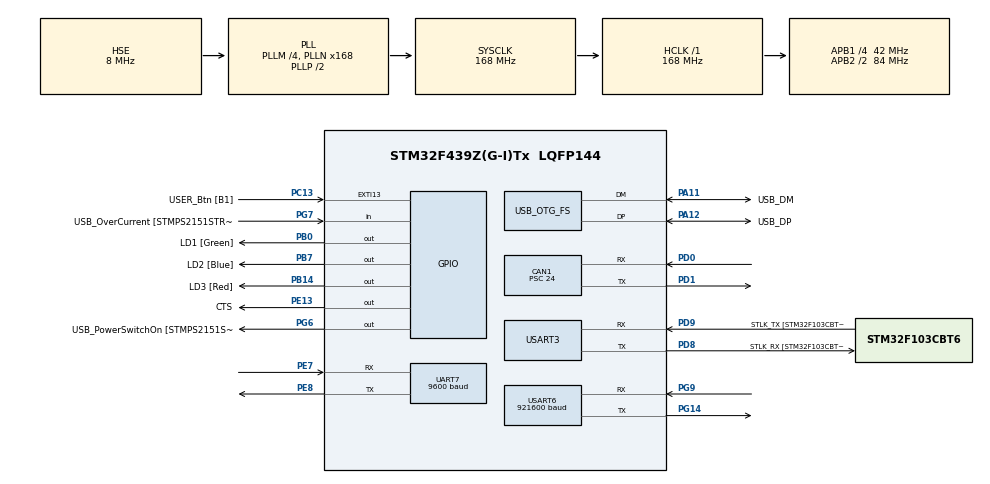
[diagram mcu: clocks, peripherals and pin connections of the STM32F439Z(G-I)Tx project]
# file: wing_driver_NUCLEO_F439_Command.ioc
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CAN1.BS1=CAN_BS1_5TQ
CAN1.CalculateBaudRate=250000
CAN1.CalculateTimeBit=4000
CAN1.CalculateTimeQuantum=571.4285714285714
CAN1.Mode=CAN_MODE_LOOPBACK
CAN1.Prescaler=24
Dma.Request0=USART6_RX
Dma.Request1=UART7_RX
Dma.UART7_RX.1.Direction=DMA_PERIPH_TO_MEMORY
Dma.UART7_RX.1.FIFOMode=DMA_FIFOMODE_DISABLE
Dma.UART7_RX.1.Instance=DMA1_Stream3
Dma.UART7_RX.1.MemDataAlignment=DMA_MDATAALIGN_BYTE
Dma.UART7_RX.1.MemInc=DMA_MINC_ENABLE
Dma.UART7_RX.1.Mode=DMA_CIRCULAR
Dma.UART7_RX.1.PeriphDataAlignment=DMA_PDATAALIGN_BYTE
Dma.UART7_RX.1.PeriphInc=DMA_PINC_DISABLE
Dma.UART7_RX.1.Priority=DMA_PRIORITY_LOW
Dma.USART6_RX.0.Direction=DMA_PERIPH_TO_MEMORY
Dma.USART6_RX.0.FIFOMode=DMA_FIFOMODE_DISABLE
Dma.USART6_RX.0.Instance=DMA2_Stream1
Dma.USART6_RX.0.MemDataAlignment=DMA_MDATAALIGN_BYTE
Dma.USART6_RX.0.MemInc=DMA_MINC_ENABLE
Dma.USART6_RX.0.Mode=DMA_NORMAL
Dma.USART6_RX.0.PeriphDataAlignment=DMA_PDATAALIGN_BYTE
Dma.USART6_RX.0.PeriphInc=DMA_PINC_DISABLE
Dma.USART6_RX.0.Priority=DMA_PRIORITY_LOW
Mcu.Family=STM32F4
Mcu.Name=STM32F439Z(G-I)Tx
Mcu.Package=LQFP144
NVIC.CAN1_TX_IRQn=true\:0\:0\:false\:false\:true\:true\:true\:true
NVIC.DMA1_Stream3_IRQn=true\:0\:0\:false\:false\:true\:false\:true\:true
NVIC.DMA2_Stream1_IRQn=true\:0\:0\:false\:false\:true\:false\:true\:true
NVIC.OTG_FS_IRQn=true\:0\:0\:false\:false\:true\:false\:true\:true
NVIC.PriorityGroup=NVIC_PRIORITYGROUP_4
PA1.GPIO_Label=RMII_REF_CLK [LAN8742A-CZ-TR_REFCLK0]
PA1.Signal=ETH_REF_CLK
PA10.GPIO_Label=USB_ID
PA10.Signal=USB_OTG_FS_ID
PA11.GPIO_Label=USB_DM
PA11.Mode=Host_Only
PA11.Signal=USB_OTG_FS_DM
PA12.GPIO_Label=USB_DP
PA12.Mode=Host_Only
PA12.Signal=USB_OTG_FS_DP
PA13.GPIO_Label=TMS
PA13.Mode=Serial_Wire
PA13.Signal=SYS_JTMS-SWDIO
PA14.GPIO_Label=TCK
PA14.Mode=Serial_Wire
PA14.Signal=SYS_JTCK-SWCLK
PA2.GPIO_Label=RMII_MDIO [LAN8742A-CZ-TR_MDIO]
PA2.Signal=ETH_MDIO
PA7.GPIO_Label=RMII_CRS_DV [LAN8742A-CZ-TR_CRS_DV]
PA7.Signal=ETH_CRS_DV
PA8.GPIO_Label=USB_SOF [TP1]
PA8.Signal=USB_OTG_FS_SOF
PA9.GPIO_Label=USB_VBUS
PA9.Signal=USB_OTG_FS_VBUS
PB0.GPIO_Label=LD1 [Green]
PB0.Signal=GPIO_Output
PB13.GPIO_Label=RMII_TXD1 [LAN8742A-CZ-TR_TXD1]
PB13.Signal=ETH_TXD1
PB14.GPIO_Label=LD3 [Red]
PB14.Signal=GPIO_Output
PB7.GPIO_Label=LD2 [Blue]
PB7.Signal=GPIO_Output
PC1.GPIO_Label=RMII_MDC [LAN8742A-CZ-TR_MDC]
PC1.Signal=ETH_MDC
PC13.GPIO_Label=USER_Btn [B1]
PC13.Signal=GPXTI13
PC14/OSC32_IN.Mode=LSE-External-Oscillator
PC14/OSC32_IN.Signal=RCC_OSC32_IN
PC15/OSC32_OUT.Mode=LSE-External-Oscillator
PC15/OSC32_OUT.Signal=RCC_OSC32_OUT
PC4.GPIO_Label=RMII_RXD0 [LAN8742A-CZ-TR_RXD0]
PC4.Signal=ETH_RXD0
PC5.GPIO_Label=RMII_RXD1 [LAN8742A-CZ-TR_RXD1]
PC5.Signal=ETH_RXD1
PD0.Mode=CAN_Activate
PD0.Signal=CAN1_RX
PD1.Mode=CAN_Activate
PD1.Signal=CAN1_TX
PD8.GPIO_Label=STLK_RX [STM32F103CBT6_PA3]
PD8.Mode=Asynchronous
PD8.Signal=USART3_TX
PD9.GPIO_Label=STLK_TX [STM32F103CBT6_PA2]
PD9.Mode=Asynchronous
PD9.Signal=USART3_RX
PE13.GPIO_Label=CTS
PE13.Signal=GPIO_Output
PE7.Mode=Asynchronous
PE7.Signal=UART7_RX
PE8.Mode=Asynchronous
PE8.Signal=UART7_TX
PG11.GPIO_Label=RMII_TX_EN [LAN8742A-CZ-TR_TXEN]
PG11.Signal=ETH_TX_EN
PG13.GPIO_Label=RMII_TXD0 [LAN8742A-CZ-TR_TXD0]
PG13.Signal=ETH_TXD0
PG14.Mode=Asynchronous
PG14.Signal=USART6_TX
PG6.GPIO_Label=USB_PowerSwitchOn [STMPS2151STR_EN]
PG6.Signal=GPIO_Output
PG7.GPIO_Label=USB_OverCurrent [STMPS2151STR_FAULT]
PG7.Signal=GPIO_Input
PG9.Mode=Asynchronous
PG9.Signal=USART6_RX
PH0/OSC_IN.GPIO_Label=MCO [STM32F103CBT6_PA8]
PH0/OSC_IN.Mode=HSE-External-Clock-Source
PH0/OSC_IN.Signal=RCC_OSC_IN
PH1/OSC_OUT.Mode=HSE-External-Clock-Source
PH1/OSC_OUT.Signal=RCC_OSC_OUT
ProjectManager.HeapSize=0x200
ProjectManager.StackSize=0x400
ProjectManager.TargetToolchain=STM32CubeIDE
RCC.48MHZClocksFreq_Value=48000000
RCC.AHBFreq_Value=168000000
RCC.APB1CLKDivider=RCC_HCLK_DIV4
RCC.APB1Freq_Value=42000000
RCC.APB1TimFreq_Value=84000000
RCC.APB2CLKDivider=RCC_HCLK_DIV2
RCC.APB2Freq_Value=84000000
RCC.APB2TimCLKDivider=2
RCC.APB2TimFreq_Value=168000000
RCC.CortexFreq_Value=168000000
RCC.HCLKFreq_Value=168000000
RCC.HSE_VALUE=8000000
RCC.HSI_VALUE=16000000
RCC.PLLM=4
RCC.PLLMUL=RCC_PLL_MUL9
RCC.PLLN=168
RCC.PLLQ=7
RCC.PRESCALERUSB=RCC_USBCLKSOURCE_PLL_DIV1_5
RCC.SYSCLKFreq_VALUE=168000000
RCC.SYSCLKSource=RCC_SYSCLKSOURCE_PLLCLK
RCC.SYSCLKSourceVirtual=RCC_SYSCLKSOURCE_PLLCLK
RCC.USBFreq_Value=48000000
RCC.VCOOutputFreq_Value=336000000
UART7.BaudRate=9600
UART7.VirtualMode=Asynchronous
USART3.VirtualMode=VM_ASYNC
USART6.BaudRate=921600
USART6.VirtualMode=VM_ASYNC
USB_HOST.BSP.number=1
USB_HOST.USBH_HandleTypeDef-CDC_FS=hUsbHostFS
USB_HOST.VirtualModeFS=Cdc
USB_HOST0.BSP.STBoard=false
USB_HOST0.BSP.api=Unknown
USB_HOST0.BSP.condition=SW_VBUS_DRIVE_CDC_FS \= false
USB_HOST0.BSP.instance=PG6
USB_HOST0.BSP.ip=GPIO
USB_HOST0.BSP.mode=Output
USB_HOST0.BSP.name=Drive_VBUS_FS
USB_HOST0.BSP.solution=PG6
USB_OTG_FS.VirtualMode=Host_Only
USB_OTG_FS.phy_itface=HCD_PHY_EMBEDDED
VP_USB_HOST_VS_USB_HOST_CDC_FS.Mode=CDC_FS
board=NUCLEO-F439ZI

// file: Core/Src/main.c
/* USER CODE BEGIN Header */
/**
  ******************************************************************************
  * @file           : main.c
  * @brief          : Main program body
  ******************************************************************************
  * @attention
  *
  * Copyright (c) 2024 STMicroelectronics.
  * All rights reserved.
  *
  * This software is licensed under terms that can be found in the LICENSE file
  * in the root directory of this software component.
  * If no LICENSE file comes with this software, it is provided AS-IS.
  *
  ******************************************************************************
  */
/* USER CODE END Header */
#include "main.h"
#include "usb_host.h"

/* USER CODE BEGIN Includes */
#include <stdio.h>
#include <stdint.h>
#include <math.h>
#include "retarget.h"
#include "usbh_cdc.h"
/* USER CODE END Includes */

/* USER CODE BEGIN PTD */
#define MTDATA2 0x36					//XCODE for Device reading
#define EULERANGLES 0x2030				//XCODE for Euler angles reading
#define ACCELERATION 0x4020				//XCODE for Acceleration angles reading
#define RATEOFTURN 0x8020				//XCODE for RateofTurn angles reading
#define LATLON 0x5040					//XCODE for Latitude and Longitude reading
#define l_F 0.65						//Length of Wing, Mast-Fore
#define l_A 0.65						//Length of Wing, Mast-Aft
#define l_B 1.25						//Length of Wing, Mast-Bord
#define l_T 1.25						//Length of Wing, Mast-Tribord
#define l_M 1.2							//Length of Mast
#define RX_USB_BUFF_SIZE   64  			//Length of Received data from USB
/* USER CODE END PTD */

CAN_HandleTypeDef hcan1;

UART_HandleTypeDef huart7;
UART_HandleTypeDef huart3;
UART_HandleTypeDef huart6;
DMA_HandleTypeDef hdma_uart7_rx;
DMA_HandleTypeDef hdma_usart6_rx;

/* USER CODE BEGIN PV */
uint8_t UART_rxBuffer[54] = {0};							//Used to store latest reading from UART
uint8_t UART_rx7Buffer[16] = {0};							//Used to store latest reading from UART

float euler[3];                                             //Used to store latest EulerAngle reading
float acc[3];                                               //Used to store latest Acceleration reading
float rot[3];                                               //Used to store latest RateOfTurn reading
float latlon[2];											//Used to store latest Latitude and Longitude reading
float alt;													//Used to store latest Altitude reading

CAN_TxHeaderTypeDef   TxHeader;								//Used to send CAN Header
CAN_RxHeaderTypeDef   RxHeader;								//Used to receive CAN Header
CAN_FilterTypeDef sFilterConfig;							//Used to filter CAN messages
uint8_t               TxData[8];							//Used to store latest sent data for CAN
uint8_t               RxData[8];							//Used to store latest reading from CAN
uint32_t              TxMailbox;							//Used to store latest mailbox from CAN

float deltaL_F = 0;											//Used to store the difference of string for the Fore strings
float deltaL_A = 0;											//Used to store the difference of string for the Aft strings
float deltaL_B = 0;											//Used to store the difference of string for the Babord strings
float deltaL_T = 0;											//Used to store the difference of string for the Tribord strings

float deltaL_1 = 0;											//Used to store the difference of string for the L1 string
float deltaL_2 = 0;											//Used to store the difference of string for the L2 string
float deltaL_3 = 0;											//Used to store the difference of string for the L3 string
float deltaL_4 = 0;											//Used to store the difference of string for the L4 string

float roll;													//Used to store the roll value
float pitch;												//Used to store the pitch value
float rotX;													//Used to store the rotational velocity in the X axis value
float rotY;													//Used to store the rotational velocity in the Y axis value

float alpha_ref;												//Used to store the reference of the roll
float beta_ref;													//Used to store the reference of the pitch

float e_alpha;												//Used to store the error in the roll orientation
float e_beta;												//Used to store the error in the pitch orientation

float V_2;													//Used to store the measured velocity of P2 in the wing
float V_3;													//Used to store the measured velocity of P3 in the wing

float I_1;													//Used to store the reference of the current in L1 motor
float I_4;													//Used to store the reference of the current in L4 motor

int rudder_angle = 0;										//Value of the angle of the rudder in degrees from -30 to 30 (TODO)

int speed_motor_boat = 0;									//Value of the speed of the motor of the boat in percentage from -100 to 100

int flagWingMode, rudder_ref, flagBoatPowerSwitch, boatThrottle, flagSpeedMode, flagBoatBrake = 0;

uint8_t x =100;

extern USBH_HandleTypeDef hUsbHostFS;
extern ApplicationTypeDef Appli_state;
USBH_StatusTypeDef usbresult;
uint8_t CDC_RX_Buffer[RX_USB_BUFF_SIZE];
uint8_t buffer[RX_USB_BUFF_SIZE];

typedef enum {
  CDC_STATE_IDLE = 0,
  CDC_SEND,
  CDC_RECEIVE,
}CDC_StateTypedef;

CDC_StateTypedef CDC_STATE = CDC_RECEIVE;

uint32_t awa = 0;
uint32_t aws = 0;

uint32_t t0 = 0;
uint32_t timeEllapsed;

uint32_t tx_flag = 0;
/* USER CODE END PV */

void SystemClock_Config(void);
static void MX_GPIO_Init(void);
static void MX_DMA_Init(void);
static void MX_USART3_UART_Init(void);
static void MX_USART6_UART_Init(void);
static void MX_CAN1_Init(void);
static void MX_UART7_Init(void);
void MX_USB_HOST_Process(void);

/* USER CODE BEGIN PFP */
void parseMTData2(uint8_t* data, uint8_t datalength);
void dataswapendian(uint8_t* data, uint8_t length);
void config_CAN(void);
void CDC_HANDLE (void);
/* USER CODE END PFP */

int main(void)
{
  /* USER CODE BEGIN 1 */
	volatile int i = 10000000 *2/5;
	while (i--);
  /* USER CODE END 1 */

  /* MCU Configuration--------------------------------------------------------*/

  /* Reset of all peripherals, Initializes the Flash interface and the Systick. */
  HAL_Init();

  /* Configure the system clock */
  SystemClock_Config();

  /* Initialize all configured peripherals */
  MX_GPIO_Init();
  MX_DMA_Init();
  MX_USART3_UART_Init();
  MX_USART6_UART_Init();
  MX_USB_HOST_Init();
  MX_CAN1_Init();
  MX_UART7_Init();
  /* USER CODE BEGIN 2 */
  config_CAN();															//Configures the CAN1 peripheral
  HAL_CAN_Start(&hcan1);												//Starts the CAN1 peripheral
  HAL_UART_Receive_DMA (&huart6, UART_rxBuffer, 54);					//Assigns the reception of DMA to the memory space to UART_rxBuffer
  HAL_UART_Receive_DMA (&huart7, UART_rx7Buffer, 16);					//Assigns the reception of DMA to the memory space to UART_rxBuffer
  RetargetInit(&huart3);
  printf("\n----------------------------------------------------------------\n\r");

  t0 = HAL_GetTick();
  /*Test values*/
  TxData[0] = 0;
  TxData[1] = 0x00;
  flagBoatBrake = 1;
  flagSpeedMode = 3;
  flagBoatPowerSwitch = 1;
  flagWingMode = 1;

  rudder_ref = 15;
  boatThrottle = 50;

  alpha_ref = 0;															//roll in degrees
  beta_ref = 0;																//pitch in degrees.
  I_1 = 5;																	//Reference current in motor 1 in Amperes
  I_4 = 5;																	//Reference current in motor 4 in Amperes

  /* USER CODE END 2 */

  /* Infinite loop */
  while (1)
  {
    MX_USB_HOST_Process();

    /* USER CODE BEGIN 3 */

    /*Calculate the error in orientation*/
    e_alpha = alpha_ref - roll;
    e_beta = beta_ref - pitch;

	/* Obtaining the linearized differences in rope */
	deltaL_F = l_F*(e_beta*3.14159/180);
	deltaL_A = -l_A*(e_beta*3.14159/180);
	deltaL_B = -l_B*(e_alpha*3.14159/180);
	deltaL_T = l_T*(e_alpha*3.14159/180);

	deltaL_1 = deltaL_F + deltaL_T;
	deltaL_2 = deltaL_A + deltaL_T;
	deltaL_3 = deltaL_A + deltaL_B;
	deltaL_4 = deltaL_F + deltaL_B;

	V_2 = rotX*(-l_T) - rotY*(-l_A);										//Obtains the vel. of P2 with respect of the wing (+ goes up - goes down)
	V_3 = rotX*(l_B) - rotY*(-l_A);											//Obtains the vel. of P3 with respect of the wing (+ goes up - goes down)

	if (deltaL_2>0) {
		I_4 = 15;
	}
	else {
		I_4 = 1;
	}

	if (deltaL_3>0) {
		I_1 = 15;
	}
	else {
		I_1 = 1;
	}
	HAL_CAN_AddTxMessage(&hcan1, &TxHeader, (&(I_1)), &TxMailbox);
	TxHeader.StdId=0x002;
	HAL_CAN_AddTxMessage(&hcan1, &TxHeader, (&(I_4)), &TxMailbox);
	while(HAL_CAN_GetTxMailboxesFreeLevel(&hcan1) != 3) {}
	TxHeader.StdId=0x003;
	HAL_CAN_AddTxMessage(&hcan1, &TxHeader, (&(deltaL_2)), &TxMailbox);
	while(HAL_CAN_GetTxMailboxesFreeLevel(&hcan1) != 3) {}
	TxHeader.StdId=0x004;
	HAL_CAN_AddTxMessage(&hcan1, &TxHeader, (&(deltaL_3)), &TxMailbox);
	while(HAL_CAN_GetTxMailboxesFreeLevel(&hcan1) != 3) {}
	TxHeader.StdId=0x005;
	TxData[3] = rudder_ref;
	TxData[2] = 0;
	TxData[1] = 0;
	TxData[0] = 0;
	HAL_CAN_AddTxMessage(&hcan1, &TxHeader, (TxData), &TxMailbox);
	while(HAL_CAN_GetTxMailboxesFreeLevel(&hcan1) != 3) {}
	TxHeader.StdId=0x006;
	TxData[3] = boatThrottle;
	TxData[2] = 0;
	TxData[1] = 0;
	TxData[0] = 0;
	HAL_CAN_AddTxMessage(&hcan1, &TxHeader, (TxData), &TxMailbox);
	while(HAL_CAN_GetTxMailboxesFreeLevel(&hcan1) != 3) {}
	TxHeader.StdId=0x007;
	TxData[3] = flagWingMode;
	TxData[2] = flagBoatPowerSwitch;
	TxData[1] = flagSpeedMode;
	TxData[0] = flagBoatBrake;
	HAL_CAN_AddTxMessage(&hcan1, &TxHeader, (TxData), &TxMailbox);
//	while(HAL_CAN_GetTxMailboxesFreeLevel(&hcan1) != 3) {}
//	TxHeader.StdId=0x005;
//	HAL_CAN_AddTxMessage(&hcan1, &TxHeader, (&(V_2)), &TxMailbox);
//	while(HAL_CAN_GetTxMailboxesFreeLevel(&hcan1) != 3) {}
//	TxHeader.StdId=0x006;
//	HAL_CAN_AddTxMessage(&hcan1, &TxHeader, (&(V_3)), &TxMailbox);
	TxHeader.StdId=0x001;

	if (Appli_state == APPLICATION_READY)
	{
		CDC_HANDLE();
		for (int i = 0;  i<RX_USB_BUFF_SIZE; i++)
		{
			if (buffer[i] == 0x01 && buffer[i+1] == 0x04 && buffer[i+2] == 0x05 && buffer[i+8] == 0x81)
			{
				aws = (( (uint32_t) (buffer[i+4]))<<8U | ( (uint32_t) buffer[i+3])) * 50000 / 65535;
				awa = (( (uint32_t) (buffer[i+6]))<<8U | ( (uint32_t) buffer[i+5]));
				awa = awa * (360.0 / 65536);
				timeEllapsed = HAL_GetTick() - t0;
				printf("t(ms): %lu ; awa(deg): %u; aws(m/s): %u.%u; roll: %d; pitch: %d \n\r", timeEllapsed, (unsigned int)(awa), (unsigned int)aws/100, (unsigned int)aws%100, (int)roll, (int) pitch);
			}
		}
	}
	else
	{
		timeEllapsed = HAL_GetTick() - t0;
		printf("t(ms): %lu ; roll: %d.%u; pitch: %d.%d ;L2(mm) %d ;L3(mm) %d ;I1(A) %d; I4(A) %d \n\r", timeEllapsed, (int)roll,(unsigned int)(roll*100)%100 , (int) pitch,(unsigned int)(pitch*100)%100, (int)(deltaL_1*1000), (int)(deltaL_2*1000), (int)I_1, (int)I_4);

	}
//	  HAL_Delay (1000);												//Arbitrary delay

	/*Test routine*/
	//HAL_UART_Transmit(&huart7, (uint8_t)(x), sizeof (uint8_t), 10);
//	timeEllapsed = HAL_GetTick() - t0;
//	printf("t(ms): %lu ;roll: %d; pitch: %d; L2(mm): %d;L3(mm): %d ; I1(A): %d;I4(A): %d\n\r", timeEllapsed,(int)roll, (int) pitch, (int) (deltaL_2*1000), (int) (deltaL_3*1000),(int) I_1,(int) I_4);
	//HAL_UART_Transmit(&huart7, (int8_t)(&(deltaL_2)), sizeof (int8_t), 10);
	HAL_GPIO_TogglePin(GPIOB, LD1_Pin);
  }
  /* USER CODE END 3 */
}

void SystemClock_Config(void)
{
  RCC_OscInitTypeDef RCC_OscInitStruct = {0};
  RCC_ClkInitTypeDef RCC_ClkInitStruct = {0};

  /** Configure the main internal regulator output voltage
  */
  __HAL_RCC_PWR_CLK_ENABLE();
  __HAL_PWR_VOLTAGESCALING_CONFIG(PWR_REGULATOR_VOLTAGE_SCALE1);

  /** Initializes the RCC Oscillators according to the specified parameters
  * in the RCC_OscInitTypeDef structure.
  */
  RCC_OscInitStruct.OscillatorType = RCC_OSCILLATORTYPE_HSE;
  RCC_OscInitStruct.HSEState = RCC_HSE_BYPASS;
  RCC_OscInitStruct.PLL.PLLState = RCC_PLL_ON;
  RCC_OscInitStruct.PLL.PLLSource = RCC_PLLSOURCE_HSE;
  RCC_OscInitStruct.PLL.PLLM = 4;
  RCC_OscInitStruct.PLL.PLLN = 168;
  RCC_OscInitStruct.PLL.PLLP = RCC_PLLP_DIV2;
  RCC_OscInitStruct.PLL.PLLQ = 7;
  if (HAL_RCC_OscConfig(&RCC_OscInitStruct) != HAL_OK)
  {
    Error_Handler();
  }

  /** Initializes the CPU, AHB and APB buses clocks
  */
  RCC_ClkInitStruct.ClockType = RCC_CLOCKTYPE_HCLK|RCC_CLOCKTYPE_SYSCLK
                              |RCC_CLOCKTYPE_PCLK1|RCC_CLOCKTYPE_PCLK2;
  RCC_ClkInitStruct.SYSCLKSource = RCC_SYSCLKSOURCE_PLLCLK;
  RCC_ClkInitStruct.AHBCLKDivider = RCC_SYSCLK_DIV1;
  RCC_ClkInitStruct.APB1CLKDivider = RCC_HCLK_DIV4;
  RCC_ClkInitStruct.APB2CLKDivider = RCC_HCLK_DIV2;

  if (HAL_RCC_ClockConfig(&RCC_ClkInitStruct, FLASH_LATENCY_5) != HAL_OK)
  {
    Error_Handler();
  }
}

static void MX_CAN1_Init(void)
{

  hcan1.Instance = CAN1;
  hcan1.Init.Prescaler = 24;
  hcan1.Init.Mode = CAN_MODE_LOOPBACK;
  hcan1.Init.SyncJumpWidth = CAN_SJW_1TQ;
  hcan1.Init.TimeSeg1 = CAN_BS1_5TQ;
  hcan1.Init.TimeSeg2 = CAN_BS2_1TQ;
  hcan1.Init.TimeTriggeredMode = DISABLE;
  hcan1.Init.AutoBusOff = DISABLE;
  hcan1.Init.AutoWakeUp = DISABLE;
  hcan1.Init.AutoRetransmission = DISABLE;
  hcan1.Init.ReceiveFifoLocked = DISABLE;
  hcan1.Init.TransmitFifoPriority = DISABLE;
  if (HAL_CAN_Init(&hcan1) != HAL_OK)
  {
    Error_Handler();
  }

}

static void MX_UART7_Init(void)
{

  huart7.Instance = UART7;
  huart7.Init.BaudRate = 9600;
  huart7.Init.WordLength = UART_WORDLENGTH_8B;
  huart7.Init.StopBits = UART_STOPBITS_1;
  huart7.Init.Parity = UART_PARITY_NONE;
  huart7.Init.Mode = UART_MODE_TX_RX;
  huart7.Init.HwFlowCtl = UART_HWCONTROL_NONE;
  huart7.Init.OverSampling = UART_OVERSAMPLING_16;
  if (HAL_UART_Init(&huart7) != HAL_OK)
  {
    Error_Handler();
  }

}

static void MX_USART3_UART_Init(void)
{

  huart3.Instance = USART3;
  huart3.Init.BaudRate = 115200;
  huart3.Init.WordLength = UART_WORDLENGTH_8B;
  huart3.Init.StopBits = UART_STOPBITS_1;
  huart3.Init.Parity = UART_PARITY_NONE;
  huart3.Init.Mode = UART_MODE_TX_RX;
  huart3.Init.HwFlowCtl = UART_HWCONTROL_NONE;
  huart3.Init.OverSampling = UART_OVERSAMPLING_16;
  if (HAL_UART_Init(&huart3) != HAL_OK)
  {
    Error_Handler();
  }

}

static void MX_USART6_UART_Init(void)
{

  huart6.Instance = USART6;
  huart6.Init.BaudRate = 921600;
  huart6.Init.WordLength = UART_WORDLENGTH_8B;
  huart6.Init.StopBits = UART_STOPBITS_1;
  huart6.Init.Parity = UART_PARITY_NONE;
  huart6.Init.Mode = UART_MODE_TX_RX;
  huart6.Init.HwFlowCtl = UART_HWCONTROL_NONE;
  huart6.Init.OverSampling = UART_OVERSAMPLING_16;
  if (HAL_UART_Init(&huart6) != HAL_OK)
  {
    Error_Handler();
  }

}

static void MX_DMA_Init(void)
{

  /* DMA controller clock enable */
  __HAL_RCC_DMA2_CLK_ENABLE();
  __HAL_RCC_DMA1_CLK_ENABLE();

  /* DMA interrupt init */
  /* DMA1_Stream3_IRQn interrupt configuration */
  HAL_NVIC_SetPriority(DMA1_Stream3_IRQn, 0, 0);
  HAL_NVIC_EnableIRQ(DMA1_Stream3_IRQn);
  /* DMA2_Stream1_IRQn interrupt configuration */
  HAL_NVIC_SetPriority(DMA2_Stream1_IRQn, 0, 0);
  HAL_NVIC_EnableIRQ(DMA2_Stream1_IRQn);

}

static void MX_GPIO_Init(void)
{
  GPIO_InitTypeDef GPIO_InitStruct = {0};

  /* GPIO Ports Clock Enable */
  __HAL_RCC_GPIOC_CLK_ENABLE();
  __HAL_RCC_GPIOH_CLK_ENABLE();
  __HAL_RCC_GPIOA_CLK_ENABLE();
  __HAL_RCC_GPIOB_CLK_ENABLE();
  __HAL_RCC_GPIOE_CLK_ENABLE();
  __HAL_RCC_GPIOD_CLK_ENABLE();
  __HAL_RCC_GPIOG_CLK_ENABLE();

  /*Configure GPIO pin Output Level */
  HAL_GPIO_WritePin(GPIOB, LD1_Pin|LD3_Pin|LD2_Pin, GPIO_PIN_RESET);

  /*Configure GPIO pin Output Level */
  HAL_GPIO_WritePin(CTS_GPIO_Port, CTS_Pin, GPIO_PIN_RESET);

  /*Configure GPIO pin Output Level */
  HAL_GPIO_WritePin(USB_PowerSwitchOn_GPIO_Port, USB_PowerSwitchOn_Pin, GPIO_PIN_RESET);

  /*Configure GPIO pin : USER_Btn_Pin */
  GPIO_InitStruct.Pin = USER_Btn_Pin;
  GPIO_InitStruct.Mode = GPIO_MODE_IT_RISING;
  GPIO_InitStruct.Pull = GPIO_NOPULL;
  HAL_GPIO_Init(USER_Btn_GPIO_Port, &GPIO_InitStruct);

  /*Configure GPIO pins : RMII_MDC_Pin RMII_RXD0_Pin RMII_RXD1_Pin */
  GPIO_InitStruct.Pin = RMII_MDC_Pin|RMII_RXD0_Pin|RMII_RXD1_Pin;
  GPIO_InitStruct.Mode = GPIO_MODE_AF_PP;
  GPIO_InitStruct.Pull = GPIO_NOPULL;
  GPIO_InitStruct.Speed = GPIO_SPEED_FREQ_VERY_HIGH;
  GPIO_InitStruct.Alternate = GPIO_AF11_ETH;
  HAL_GPIO_Init(GPIOC, &GPIO_InitStruct);

  /*Configure GPIO pins : RMII_REF_CLK_Pin RMII_MDIO_Pin RMII_CRS_DV_Pin */
  GPIO_InitStruct.Pin = RMII_REF_CLK_Pin|RMII_MDIO_Pin|RMII_CRS_DV_Pin;
  GPIO_InitStruct.Mode = GPIO_MODE_AF_PP;
  GPIO_InitStruct.Pull = GPIO_NOPULL;
  GPIO_InitStruct.Speed = GPIO_SPEED_FREQ_VERY_HIGH;
  GPIO_InitStruct.Alternate = GPIO_AF11_ETH;
  HAL_GPIO_Init(GPIOA, &GPIO_InitStruct);

  /*Configure GPIO pins : LD1_Pin LD3_Pin LD2_Pin */
  GPIO_InitStruct.Pin = LD1_Pin|LD3_Pin|LD2_Pin;
  GPIO_InitStruct.Mode = GPIO_MODE_OUTPUT_PP;
  GPIO_InitStruct.Pull = GPIO_NOPULL;
  GPIO_InitStruct.Speed = GPIO_SPEED_FREQ_LOW;
  HAL_GPIO_Init(GPIOB, &GPIO_InitStruct);

  /*Configure GPIO pin : CTS_Pin */
  GPIO_InitStruct.Pin = CTS_Pin;
  GPIO_InitStruct.Mode = GPIO_MODE_OUTPUT_PP;
  GPIO_InitStruct.Pull = GPIO_NOPULL;
  GPIO_InitStruct.Speed = GPIO_SPEED_FREQ_LOW;
  HAL_GPIO_Init(CTS_GPIO_Port, &GPIO_InitStruct);

  /*Configure GPIO pin : RMII_TXD1_Pin */
  GPIO_InitStruct.Pin = RMII_TXD1_Pin;
  GPIO_InitStruct.Mode = GPIO_MODE_AF_PP;
  GPIO_InitStruct.Pull = GPIO_NOPULL;
  GPIO_InitStruct.Speed = GPIO_SPEED_FREQ_VERY_HIGH;
  GPIO_InitStruct.Alternate = GPIO_AF11_ETH;
  HAL_GPIO_Init(RMII_TXD1_GPIO_Port, &GPIO_InitStruct);

  /*Configure GPIO pin : USB_PowerSwitchOn_Pin */
  GPIO_InitStruct.Pin = USB_PowerSwitchOn_Pin;
  GPIO_InitStruct.Mode = GPIO_MODE_OUTPUT_PP;
  GPIO_InitStruct.Pull = GPIO_NOPULL;
  GPIO_InitStruct.Speed = GPIO_SPEED_FREQ_LOW;
  HAL_GPIO_Init(USB_PowerSwitchOn_GPIO_Port, &GPIO_InitStruct);

  /*Configure GPIO pin : USB_OverCurrent_Pin */
  GPIO_InitStruct.Pin = USB_OverCurrent_Pin;
  GPIO_InitStruct.Mode = GPIO_MODE_INPUT;
  GPIO_InitStruct.Pull = GPIO_NOPULL;
  HAL_GPIO_Init(USB_OverCurrent_GPIO_Port, &GPIO_InitStruct);

  /*Configure GPIO pins : RMII_TX_EN_Pin RMII_TXD0_Pin */
  GPIO_InitStruct.Pin = RMII_TX_EN_Pin|RMII_TXD0_Pin;
  GPIO_InitStruct.Mode = GPIO_MODE_AF_PP;
  GPIO_InitStruct.Pull = GPIO_NOPULL;
  GPIO_InitStruct.Speed = GPIO_SPEED_FREQ_VERY_HIGH;
  GPIO_InitStruct.Alternate = GPIO_AF11_ETH;
  HAL_GPIO_Init(GPIOG, &GPIO_InitStruct);

}

/* USER CODE BEGIN 4 */
void config_CAN(void)
{
	/*Defining the Header of the TX message*/
	  TxHeader.DLC=4;
	  TxHeader.IDE=CAN_ID_STD;
	  TxHeader.RTR=CAN_RTR_DATA;
	  TxHeader.StdId=0x001;

	/*Configuring the RX filter*/
	  sFilterConfig.FilterFIFOAssignment=CAN_RX_FIFO0;
	  sFilterConfig.FilterIdHigh=0x245<<5;
	  sFilterConfig.FilterIdLow=0;
	  sFilterConfig.FilterMaskIdHigh=0;
	  sFilterConfig.FilterMaskIdLow=0;
	  sFilterConfig.FilterScale=CAN_FILTERSCALE_32BIT;
	  sFilterConfig.FilterActivation=ENABLE;
	  HAL_CAN_ConfigFilter(&hcan1, &sFilterConfig);

	  /*Activating the notification to receive a message*/
	  HAL_CAN_ActivateNotification(&hcan1, CAN_IT_RX_FIFO0_MSG_PENDING);
}

void HAL_UART_RxCpltCallback(UART_HandleTypeDef *huart)
{
	parseMTData2(UART_rxBuffer+2,51);										//Parses the data received from the MT device
	roll = euler[0];
	pitch =  euler[1];
	rotX = rot[0];
	rotY = rot[1];

	if (UART_rx7Buffer[0] == 0x01)
	{
		flagWingMode = (int) UART_rx7Buffer[1];
	}
	if (UART_rx7Buffer[2] == 0x02)
	{
		beta_ref = (signed char) UART_rx7Buffer[3];
	}
	if (UART_rx7Buffer[4] == 0x03)
	{
		alpha_ref = (signed char) UART_rx7Buffer[5];
	}
	if (UART_rx7Buffer[6] == 0x04)
	{
		rudder_ref = (signed char) UART_rx7Buffer[7];
	}
	if (UART_rx7Buffer[8] == 0x05)
	{
		flagBoatPowerSwitch = (int) UART_rx7Buffer[9];
	}
	if (UART_rx7Buffer[10] == 0x06)
	{
		boatThrottle = (signed char) UART_rx7Buffer[11];
	}
	if (UART_rx7Buffer[12] == 0x07)
	{
		flagSpeedMode = (int) UART_rx7Buffer[13];
	}
	if (UART_rx7Buffer[14] == 0x08)
	{
		flagBoatBrake = (int) UART_rx7Buffer[15];
	}

//	if((signed char)UART_rx7Buffer[0]>-60 && (signed char)UART_rx7Buffer[0]<60){
//		alpha_ref = (signed char)UART_rx7Buffer[0];
//	}
//	if((signed char)UART_rx7Buffer[0]>-60 && (signed char)UART_rx7Buffer[0]<60){
//		beta_ref = (signed char)UART_rx7Buffer[1];
//	}
//	HAL_UART_Transmit(&huart3, (&(pitch)), sizeof (float), 10);
//	HAL_UART_Transmit(&huart3, (&(rotY)), sizeof (float), 10);
//	HAL_CAN_AddTxMessage(&hcan1, &TxHeader, (&(pitch)), &TxMailbox);
//	HAL_CAN_AddTxMessage(&hcan1, &TxHeader, (&(rotY)), &TxMailbox);
	HAL_UART_Receive_DMA(&huart6, UART_rxBuffer, 54);						//Waits for a new message to be received
}

void parseMTData2(uint8_t* data, uint8_t datalength) {
  if (datalength < 2)                                                           //Reached the end of the MTData2 message
    return;

  uint8_t XDI = data[0] ;                                                       //Xsens Data Identifier
  if (XDI == (uint8_t)MTDATA2) {                                         //Start of the MTData2 message
    uint8_t length = data[1];
    parseMTData2(data + 2, length);
  } else {
    uint8_t length = data[2];

    switch (((uint16_t)data[1] | ((uint16_t)data[0] << 8)) & (uint16_t)0xFFFF) { //Extract the 2-byte Xsens Data Identifier
      case ((uint16_t)EULERANGLES):
        dataswapendian(data + 3, sizeof(float) * 3);
        memcpy(euler, data + 3, sizeof(float) * 3);
        break;
      case ((uint16_t)ACCELERATION):
        dataswapendian(data + 3, sizeof(float) * 3);
        memcpy(acc, data + 3, sizeof(float) * 3);
        break;
      case ((uint16_t)RATEOFTURN):
        dataswapendian(data + 3, sizeof(float) * 3);
        memcpy(rot, data + 3, sizeof(float) * 3);
        break;
      case ((uint16_t)LATLON):
        dataswapendian(data + 3, sizeof(float) * 2);
        memcpy(latlon, data + 3, sizeof(float) * 2);
        break;
      default:
        break;
    }
    parseMTData2(data + length + 3, datalength - length - 3);                     //Move onto next data element within MTData2 packet
  }
}

void dataswapendian(uint8_t* data, uint8_t length) {                         		 //Swap the endianness of the data such that the float value can be printed
  uint8_t cpy[length];                                                              //Create a copy of the data
  memcpy(cpy, data, length);                                                        //Create a copy of the data
  for (int i = 0; i < length / 4; i++) {
    for (int j = 0; j < 4; j++) {
      data[j + i * 4] = cpy[3 - j + i * 4];                                         //Within each 4-byte (32-bit) float, reverse the order of the individual bytes
    }
  }
}

void CDC_HANDLE (void)
{
	USBH_CDC_Stop(&hUsbHostFS);
	usbresult = USBH_CDC_Receive(&hUsbHostFS, (uint8_t *) CDC_RX_Buffer, RX_USB_BUFF_SIZE);
	HAL_Delay (100);
}

void HAL_CAN_TxMailbox1CompleteCallback(CAN_HandleTypeDef *hcan)
{

}

/* USER CODE END 4 */

void Error_Handler(void)
{
  __disable_irq();
  while (1)
  {
  }
}
